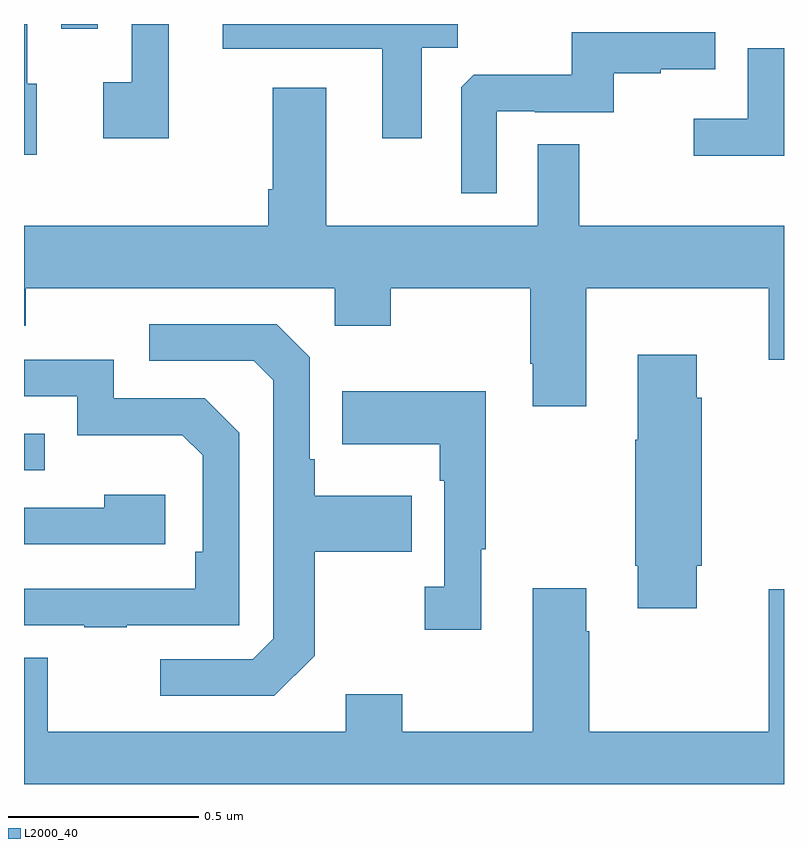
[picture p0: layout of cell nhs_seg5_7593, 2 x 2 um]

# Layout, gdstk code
import gdstk
lib = gdstk.Library(unit=1e-6, precision=1e-09)
def R(c, l, rs):  # rectangles x0, y0, x1, y1
    for r in rs: c.add(gdstk.rectangle(r[:2], r[2:], *l))
def P(c, l, *ps):  # polygons
    for p in ps: c.add(gdstk.Polygon(p, *l))
L2000_40 = (2000, 40)

nhs_seg5_7593 = lib.new_cell('nhs_seg5_7593')
R(nhs_seg5_7593, L2000_40, [(211,845.625,211.055,845.721), (211.098,846.786,211.194,846.799)])
P(nhs_seg5_7593, L2000_40, [(211.033,846.642),(211.008,846.642),(211.008,846.799),(211,846.799),(211,846.455),(211.033,846.455)],
  [(212.047,846.736),(212.142,846.736),(212.142,846.799),(211.523,846.799),(211.523,846.734),(211.943,846.734),(211.943,846.498),(212.047,846.498)],
  [(211.381,846.799),(211.284,846.799),(211.284,846.646),(211.209,846.646),(211.209,846.498),(211.381,846.498)],
  [(212.244,846.57),(212.344,846.57),(212.344,846.567),(212.552,846.567),(212.552,846.669),(212.675,846.669),(212.675,846.68),(212.819,846.68),(212.819,846.777),(212.442,846.777),(212.442,846.665),(212.183,846.665),(212.151,846.633),(212.151,846.353),(212.244,846.353)],
  [(213,846.735),(212.904,846.735),(212.904,846.55),(212.763,846.55),(212.763,846.452),(213,846.452)],
  [(212.479,846.104),(212.96,846.104),(212.96,845.916),(213,845.916),(213,846.268),(212.461,846.268),(212.461,846.482),(212.352,846.482),(212.352,846.268),(211.795,846.268),(211.795,846.631),(211.655,846.631),(211.655,846.364),(211.643,846.364),(211.643,846.268),(211,846.268),(211,846.005),(211.005,846.005),(211.005,846.104),(211.818,846.104),(211.818,846.005),(211.965,846.005),(211.965,846.104),(212.332,846.104),(212.332,845.905),(212.339,845.905),(212.339,845.793),(212.479,845.793)],
  [(211.765,845.137),(211.765,845.41),(212.021,845.41),(212.021,845.557),(211.765,845.557),(211.765,845.653),(211.752,845.653),(211.752,845.922),(211.665,846.009),(211.329,846.009),(211.329,845.913),(211.605,845.913),(211.656,845.862),(211.656,845.181),(211.602,845.127),(211.359,845.127),(211.359,845.031),(211.659,845.031)],
  [(212.77,845.374),(212.783,845.374),(212.783,845.816),(212.77,845.816),(212.77,845.929),(212.615,845.929),(212.615,845.705),(212.608,845.705),(212.608,845.374),(212.615,845.374),(212.615,845.262),(212.77,845.262)],
  [(211.271,845.217),(211.566,845.217),(211.566,845.724),(211.476,845.814),(211.236,845.814),(211.236,845.916),(211,845.916),(211,845.82),(211.14,845.82),(211.14,845.717),(211.417,845.717),(211.47,845.664),(211.47,845.41),(211.45,845.41),(211.45,845.313),(211,845.313),(211,845.217),(211.159,845.217),(211.159,845.212),(211.271,845.212)],
  [(212.203,845.417),(212.215,845.417),(212.215,845.833),(211.837,845.833),(211.837,845.693),(212.094,845.693),(212.094,845.597),(212.106,845.597),(212.106,845.318),(212.055,845.318),(212.055,845.205),(212.203,845.205)],
  [(211.372,845.56),(211.211,845.56),(211.211,845.526),(211,845.526),(211,845.43),(211.372,845.43)],
  [(213,845.311),(212.96,845.311),(212.96,844.936),(212.487,844.936),(212.487,845.201),(212.479,845.201),(212.479,845.314),(212.339,845.314),(212.339,844.936),(211.995,844.936),(211.995,845.035),(211.847,845.035),(211.847,844.936),(211.063,844.936),(211.063,845.131),(211,845.131),(211,844.799),(213,844.799)])

lib.write_gds('nhs_seg5_7593.gds')
